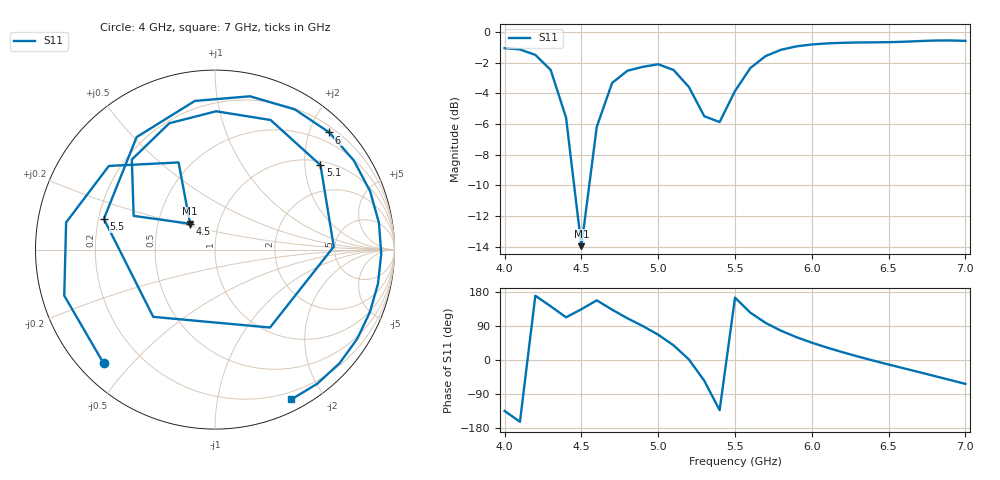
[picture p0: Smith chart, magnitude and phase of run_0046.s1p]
! Touchstone file exported from HFSS 2024.2.0
!  File:  C:/Users/wsak9/Desktop/Sim Fast/Widenad Patch/WP_AI_V1_sweep.aedt
!  Generated:  04:46:55 PM Oct 13, 2026
!  Design:  A1_model
!  Project:  WP_AI_V1_sweep
!  Setup:  Setup1
!  Solution:  Sweep
! Variables:
!  Air_gap = 4.12mm
!  Curve_Amp1 = 3.91
!  Curve_len1 = 1
!  Curve_pos = 12.515mm
!  Extra = 2.87mm
!  H_sub = 0.79mm
!  L_Patch = 21.03mm
!  L_Patch1 = 14.4mm
!  Sx = 2.58mm
!  Sy = 2.09mm
!  WS = 1.32mm
!  W_Patch = 19.15mm
!  W_Patch1 = 11.53mm
!Data is not renormalized
# GHz S MA
! Terminal data exported
! Port[1] = 1
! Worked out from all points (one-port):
!   31 points, 4 GHz to 7 GHz, reference per port
!   lowest |S11| = -14.0 dB at 4.5 GHz (marker M1), VSWR 1.50
!   |S11| at or under -10 dB: 4.453 GHz to 4.551 GHz (98.37 MHz wide, 2.19 % of centre)
!   S11 on the Smith chart (normalised r, x): 4 GHz: 0.07, -0.42; 4.5 GHz: 0.73, +0.22; 5.1 GHz: 1.11, +2.40; 5.5 GHz: 0.22, +0.13; 6 GHz: 0.30, +2.34; 7 GHz: 0.12, -1.63
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4  0.8869 -134.4
4.1  0.8782 -163.0
4.2  0.8432 169.7
4.3  0.7529 141.8
4.4  0.5262 112.7
4.5  0.2001 134.0
4.6  0.4907 157.5
4.7  0.6829 132.7
4.8  0.7486 109.9
4.9  0.7707 89.5
5  0.7856 66.8
5.1  0.7527 38.7
5.2  0.662 1.4
5.3  0.5315 -54.8
5.4  0.5087 -132.6
5.5  0.6424 164.5
5.6  0.7639 124.9
5.7  0.8359 97.7
5.8  0.8761 77.1
5.9  0.8989 60.3
6  0.9119 45.7
6.1  0.9192 32.6
6.2  0.9233 20.6
6.3  0.9254 9.3
6.5  0.9278 -11.9
6.7  0.9354 -32.1
6.9  0.9397 -52.7
7  0.9368 -63.0
